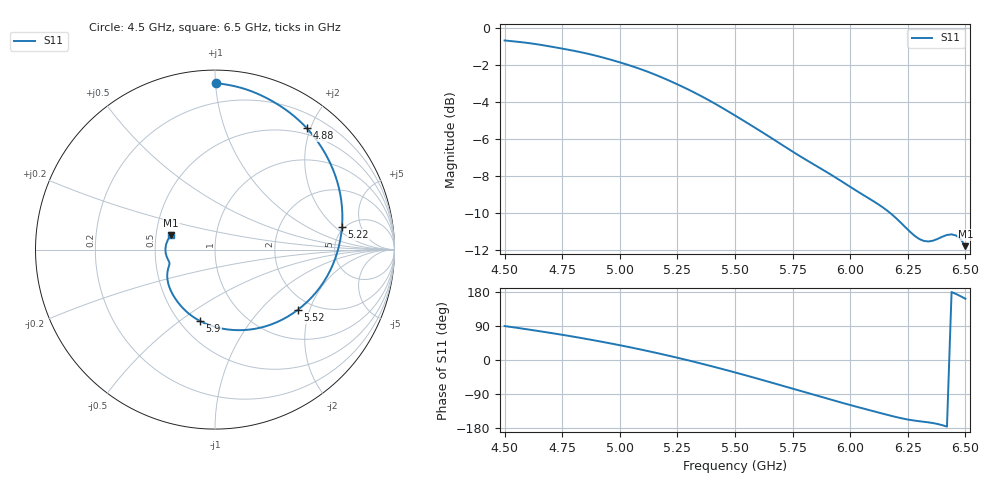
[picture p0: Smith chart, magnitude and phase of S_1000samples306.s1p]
! TOUCHSTONE file generated by CST MICROWAVE STUDIO
! Date and time: Thu Oct 27 17:18:55 2022
! Project name: L.cst
! Parameters = {Di=1.27; Epsilon_r=1.56; InnerDiameter=1.27; Length=2; Lf=10; Lg=60; OuterConductorThickness=0.2921; OuterDiameter=3.6; Wf=3; Wp=41.2; de=1.5; df=6.8; g=0.8; gx=4.58761; gy=3.2916; h=2.34; hf=1.524; px=14.7487; py=8.41443; w=9.7; wx=10.1611; wy=5.12283}
! Header version: 2018
! Port assignment regex: !\s*Touchstone port\s*([0-9]+)\s*=\s*(CST MWS port|CST DS port)\s*([0-9]+|Zmin|Zmax)\s*\(\"(.*)\"\)(\s*mode\s*([0-9]+))?.*
! Touchstone port assignment:
! Touchstone port 1 = CST MWS port 1 ("")
# GHz S DB R 50
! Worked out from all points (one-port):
!   101 points, 4.5 GHz to 6.5 GHz, reference 50 ohm
!   lowest |S11| = -11.8 dB at 6.5 GHz (marker M1), VSWR 1.69, Z = 30.1 + j5.21 ohm
!   |S11| at or under -10 dB: 6.172 GHz to end of sweep
!   S11 on the Smith chart (normalised r, x): 4.5 GHz: 0.08, +1.01; 4.88 GHz: 0.41, +1.95; 5.22 GHz: 4.75, +2.50; 5.52 GHz: 1.67, -1.67; 5.9 GHz: 0.63, -0.60; 6.5 GHz: 0.60, +0.10
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4.5  -0.66 89.5
4.62  -0.83 78.9
4.76  -1.12 65.5
4.88  -1.43 52.8
5  -1.85 39.0
5.06  -2.08 31.6
5.12  -2.35 23.9
5.22  -2.87 10.2
5.26  -3.10 4.5
5.32  -3.46 -4.3
5.38  -3.85 -13.5
5.5  -4.73 -32.8
5.52  -4.88 -36.1
5.58  -5.34 -46.1
5.64  -5.81 -56.4
5.7  -6.28 -66.8
5.76  -6.76 -77.2
5.82  -7.22 -87.7
5.9  -7.81 -101.7
6  -8.59 -118.8
6.08  -9.21 -131.8
6.14  -9.69 -141.4
6.2  -10.30 -150.6
6.26  -11.03 -158.1
6.32  -11.53 -163.1
6.4  -11.30 -172.0
6.46  -11.24 174.0
6.5  -11.81 161.6
